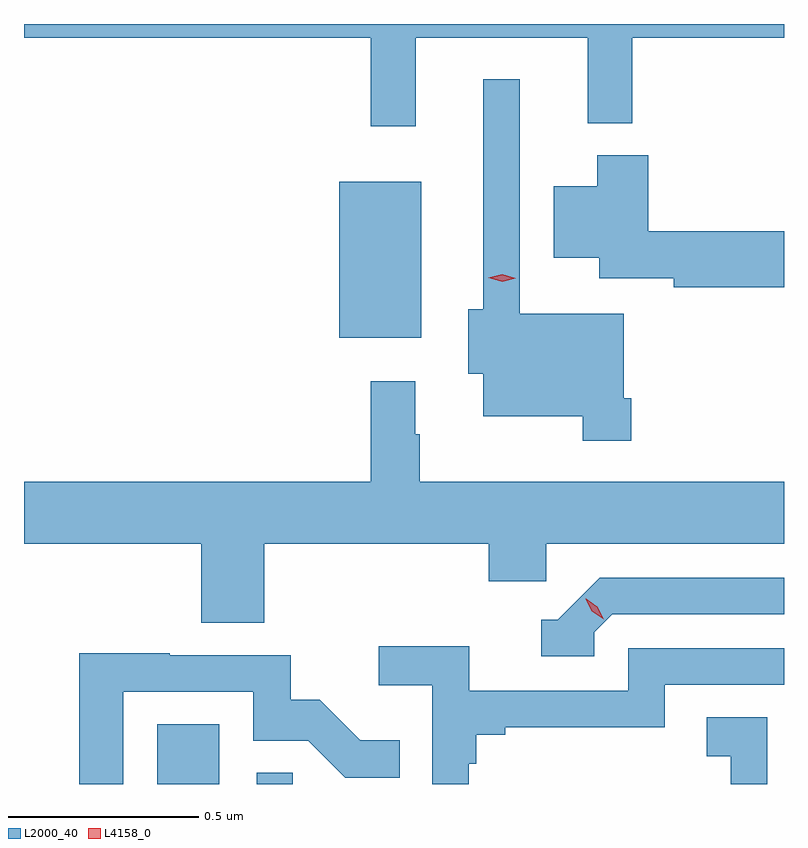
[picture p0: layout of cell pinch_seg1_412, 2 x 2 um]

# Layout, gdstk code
import gdstk
lib = gdstk.Library(unit=1e-6, precision=1e-09)
def R(c, l, rs):  # rectangles x0, y0, x1, y1
    for r in rs: c.add(gdstk.rectangle(r[:2], r[2:], *l))
def P(c, l, *ps):  # polygons
    for p in ps: c.add(gdstk.Polygon(p, *l))
L2000_40 = (2000, 40)
L4158_0 = (4158, 0)

pinch_seg1_412 = lib.new_cell('pinch_seg1_412')
R(pinch_seg1_412, L2000_40, [(934.994,535.116,935.158,535.273), (935.256,535.116,935.351,535.145), (935.474,536.291,935.689,536.701)])
P(pinch_seg1_412, L2000_40, [(935.675,537.08),(936.128,537.08),(936.128,536.855),(936.245,536.855),(936.245,537.08),(936.644,537.08),(936.644,537.116),(934.644,537.116),(934.644,537.08),(935.557,537.08),(935.557,536.847),(935.675,536.847)],
  [(936.242,536.131),(936.222,536.131),(936.222,536.353),(935.949,536.353),(935.949,536.971),(935.852,536.971),(935.852,536.366),(935.813,536.366),(935.813,536.195),(935.852,536.195),(935.852,536.084),(936.114,536.084),(936.114,536.019),(936.242,536.019)],
  [(936.644,536.57),(936.287,536.57),(936.287,536.77),(936.152,536.77),(936.152,536.689),(936.038,536.689),(936.038,536.501),(936.158,536.501),(936.158,536.447),(936.354,536.447),(936.354,536.423),(936.644,536.423)],
  [(935.276,535.748),(935.867,535.748),(935.867,535.65),(936.018,535.65),(936.018,535.748),(936.644,535.748),(936.644,535.912),(935.686,535.912),(935.686,536.036),(935.674,536.036),(935.674,536.176),(935.557,536.176),(935.557,535.912),(934.644,535.912),(934.644,535.748),(935.111,535.748),(935.111,535.54),(935.276,535.54)],
  [(936.144,535.515),(936.192,535.563),(936.644,535.563),(936.644,535.659),(936.159,535.659),(936.048,535.548),(936.005,535.548),(936.005,535.452),(936.144,535.452)],
  [(935.815,535.169),(935.834,535.169),(935.834,535.246),(935.911,535.246),(935.911,535.265),(936.33,535.265),(936.33,535.377),(936.644,535.377),(936.644,535.473),(936.234,535.473),(936.234,535.362),(935.816,535.362),(935.816,535.478),(935.577,535.478),(935.577,535.376),(935.718,535.376),(935.718,535.116),(935.815,535.116)],
  [(934.905,535.359),(935.247,535.359),(935.247,535.23),(935.392,535.23),(935.49,535.132),(935.633,535.132),(935.633,535.231),(935.529,535.231),(935.422,535.338),(935.346,535.338),(935.346,535.455),(935.027,535.455),(935.027,535.46),(934.789,535.46),(934.789,535.116),(934.905,535.116)],
  [(936.6,535.292),(936.441,535.292),(936.441,535.189),(936.504,535.189),(936.504,535.116),(936.6,535.116)])
P(pinch_seg1_412, L4158_0, [(935.902,536.438),(935.866,536.448),(935.866,536.448),(935.866,536.448),(935.902,536.457),(935.938,536.447),(935.938,536.447),(935.938,536.447)],
  [(936.169,535.55),(936.138,535.57),(936.122,535.602),(936.122,535.603),(936.123,535.603),(936.153,535.583),(936.17,535.55),(936.17,535.55)])

lib.write_gds('pinch_seg1_412.gds')
